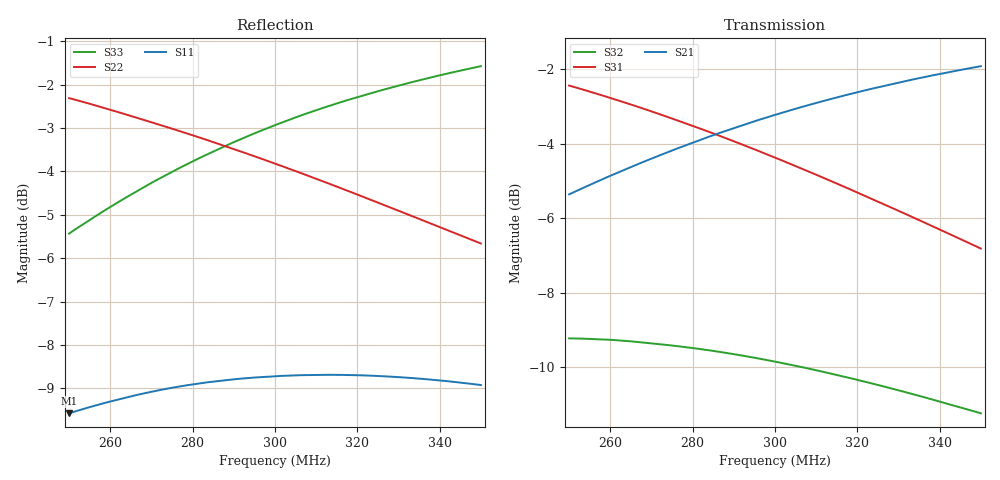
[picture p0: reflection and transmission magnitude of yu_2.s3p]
!Created with skrf (http://scikit-rf.org).
# Hz S RI R 50.0
!freq ReS11 ImS11 ReS12 ImS12 ReS13 ImS13
! ReS21 ImS21 ReS22 ImS22 ReS23 ImS23
! ReS31 ImS31 ReS32 ImS32 ReS33 ImS33
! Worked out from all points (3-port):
!   801 points, 250 MHz to 350 MHz, reference 50 ohm
!   strongest paths, dB at 250 MHz, 275 MHz, 300 MHz, 325 MHz, 350 MHz:
!     S21: -5.4, -4.2, -3.2, -2.5, -1.9
!     S31: -2.4, -3.3, -4.4, -5.6, -6.8
!     S32: -9.2, -9.4, -9.8, -10.5, -11.2
!   lowest |S11| = -9.6 dB at 250 MHz (marker M1), VSWR 1.99, Z = 71.7 + j36.1 ohm
!   |S11| at or under -10 dB: nowhere
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2.5e8  0.2451 0.2241  0.2675 0.4686  -0.3009 -0.6927
       0.2626 0.4714  0.2385 -0.7284  0.2317 -0.2559
       -0.2958 -0.6948  0.2358 -0.253  0.1692 -0.5075
2.61875e8  0.2805 0.2  0.3094 0.4876  -0.3531 -0.6294
           0.3044 0.4906  0.1881 -0.7143  0.1978 -0.2805
           -0.348 -0.632  0.2022 -0.278  0.1259 -0.5676
2.68e8  0.2968 0.1855  0.3322 0.4955  -0.3754 -0.595
        0.3273 0.4986  0.1635 -0.7051  0.1789 -0.2901
        -0.3704 -0.5979  0.1834 -0.288  0.0991 -0.5965
2.74625e8  0.3128 0.1681  0.3578 0.5026  -0.3958 -0.5572
           0.353 0.5058  0.1382 -0.6941  0.1583 -0.2985
           -0.3909 -0.5603  0.1629 -0.2967  0.0669 -0.6254
2.87e8  0.3372 0.1323  0.4078 0.5112  -0.4245 -0.4862
        0.4031 0.5144  0.0938 -0.6706  0.1188 -0.3088
        -0.4199 -0.4897  0.1235 -0.3075  -0.000219 -0.672
3e8  0.3548 0.0917  0.4618 0.513  -0.442 -0.413
     0.4573 0.5165  0.0528 -0.6421  0.0779 -0.3118
     -0.4377 -0.4169  0.0826 -0.3111  -0.078 -0.7092
3.11875e8  0.3639 0.0536  0.5112 0.5084  -0.4479 -0.3494
           0.5066 0.512  0.0203 -0.6137  0.0423 -0.3084
           -0.4439 -0.3537  0.0471 -0.3082  -0.1533 -0.7315
3.2425e8  0.3665 0.0147  0.5616 0.4977  -0.4457 -0.2878
          0.5569 0.5016  -0.00896 -0.5827  0.00814 -0.2997
          -0.4418 -0.2927  0.0131 -0.2999  -0.234 -0.743
3.36625e8  0.3629 -0.0224  0.6099 0.4814  -0.4364 -0.2321
           0.605 0.4858  -0.0338 -0.5514  -0.0223 -0.2867
           -0.4327 -0.2376  -0.0173 -0.2875  -0.3148 -0.7432
3.5e8  0.353 -0.0592  0.6589 0.4587  -0.4203 -0.1791
       0.6542 0.4636  -0.0557 -0.5182  -0.0507 -0.2692
       -0.4172 -0.1851  -0.0457 -0.2706  -0.3996 -0.7325
